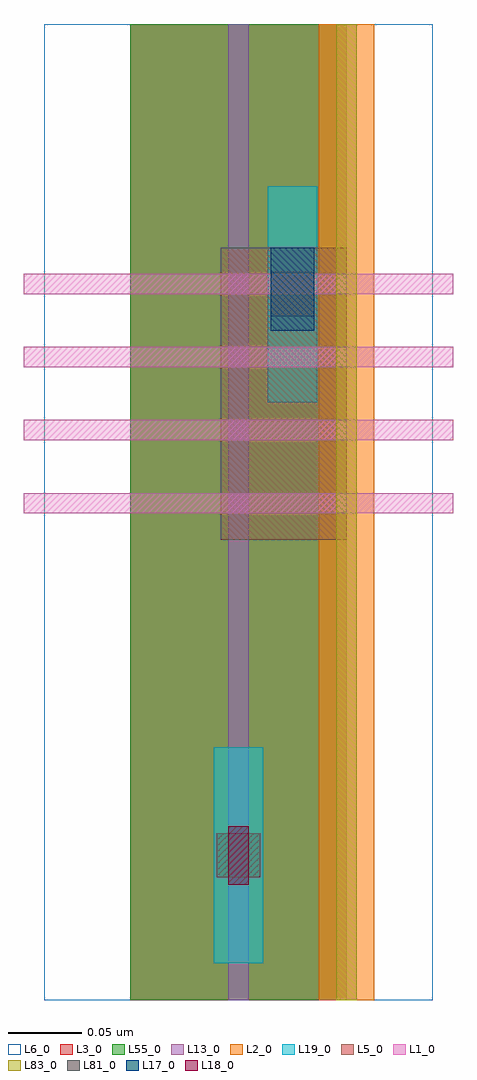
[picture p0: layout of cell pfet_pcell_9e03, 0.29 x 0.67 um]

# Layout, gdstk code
import gdstk
lib = gdstk.Library(unit=1e-6, precision=1e-09)
def R(c, l, rs):  # rectangles x0, y0, x1, y1
    for r in rs: c.add(gdstk.rectangle(r[:2], r[2:], *l))
def A(c, l, x, y, w, h, nx, ny, dx, dy):  # array of equal rectangles
    R(c, l, [(x+i*dx, y+j*dy, x+i*dx+w, y+j*dy+h) for i in range(nx) for j in range(ny)])
L1_0 = (1, 0)
L2_0 = (2, 0)
L3_0 = (3, 0)
L5_0 = (5, 0)
L6_0 = (6, 0)
L13_0 = (13, 0)
L17_0 = (17, 0)
L18_0 = (18, 0)
L19_0 = (19, 0)
L55_0 = (55, 0)
L81_0 = (81, 0)
L83_0 = (83, 0)

pfet_pcell_9e03 = lib.new_cell('pfet_pcell_9e03')
A(pfet_pcell_9e03, L1_0, -0.14, 0, 0.294, 0.014, 1, 4, 0, 0.05)
R(pfet_pcell_9e03, L2_0, [(0.062,-0.333,0.1,0.335)])
R(pfet_pcell_9e03, L3_0, [(-0.067,-0.333,0.081,0.335)])
R(pfet_pcell_9e03, L5_0, [(-0.005,-0.018,0,0.182), (0,-0.018,0.014,0.182), (0.014,-0.018,0.081,0.182)])
R(pfet_pcell_9e03, L6_0, [(-0.126,-0.333,0.14,0.335)])
R(pfet_pcell_9e03, L13_0, [(0,-0.333,0.014,0.335), (0.074,-0.333,0.088,0.335), (0.074,-0.333,0.088,0.335)])
R(pfet_pcell_9e03, L17_0, [(0.029,0.125,0.059,0.182)])
R(pfet_pcell_9e03, L18_0, [(0,-0.254,0.014,-0.214)])
R(pfet_pcell_9e03, L19_0, [(-0.01,-0.308,0.024,-0.16), (-0.01,-0.308,0.024,-0.16), (0.027,0.076,0.061,0.224), (0.027,0.08,0.061,0.22)])
R(pfet_pcell_9e03, L55_0, [(-0.067,-0.333,0.081,0.335)])
R(pfet_pcell_9e03, L81_0, [(-0.008,-0.249,0.022,-0.219), (0.029,0.135,0.059,0.165)])
R(pfet_pcell_9e03, L83_0, [(0.074,-0.333,0.088,0.335)])

lib.write_gds('pfet_pcell_9e03.gds')
